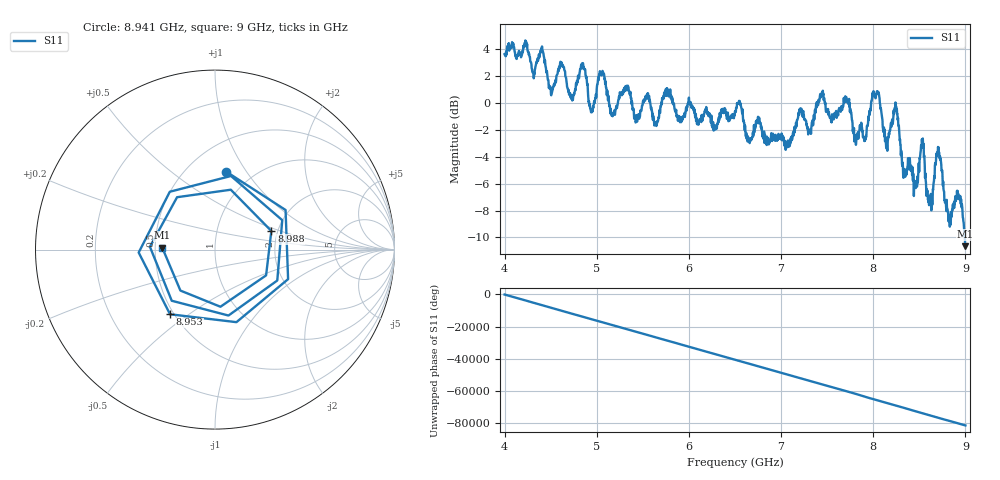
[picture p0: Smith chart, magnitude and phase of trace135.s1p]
! Created with skrf 1.8.0 (http://scikit-rf.org).
# Hz S RI R 50.0
!freq ReS11 ImS11
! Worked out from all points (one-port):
!   1601 points, 4 GHz to 9 GHz, reference 50 ohm
!   lowest |S11| = -10.6 dB at 9 GHz (marker M1), VSWR 1.83, Z = 27.3 + j0.592 ohm
!   |S11| at or under -10 dB: 8.9945 GHz to end of sweep
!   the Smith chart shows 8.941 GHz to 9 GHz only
!   S11 on the Smith chart (normalised r, x): 8.941 GHz: 0.76, +0.81; 8.953 GHz: 0.48, -0.43; 8.988 GHz: 1.85, +0.43; 9 GHz: 0.55, +0.01
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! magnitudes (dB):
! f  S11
! 4 GHz  3.6
! 4.503 GHz  0.6
! 4.625 GHz  2.7
! 4.725 GHz  0.3
! 4.853 GHz  2.8
! 4.941 GHz  -0.6
! 5.05 GHz  2.2
! 5.162 GHz  -1.0
! 5.25 GHz  0.8
! 5.875 GHz  -1.0
! 6.5 GHz  -0.6
! 7.125 GHz  -2.5
! 7.444 GHz  0.8
! 7.75 GHz  -0.4
! 7.906 GHz  -2.6
! 8.044 GHz  0.7
! 8.147 GHz  -2.8
! 8.244 GHz  -0.1
! 8.375 GHz  -4.7
! 8.462 GHz  -6.3
! 8.534 GHz  -3.3
! 8.619 GHz  -7.3
! 8.709 GHz  -3.3
! 8.816 GHz  -8.8
! 8.941 GHz  -7.2
! 8.953 GHz  -7.2
! 8.988 GHz  -9.6
! 9 GHz  -10.6
